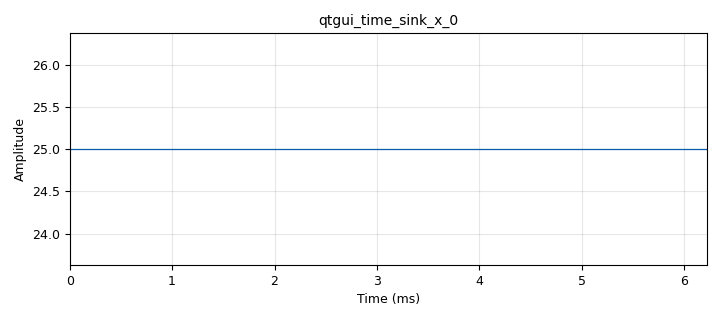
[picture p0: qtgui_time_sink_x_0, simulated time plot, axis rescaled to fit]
options:
  parameters:
    author: JI
    comment: This file is a simply lookupg for a ePython based iterator
    generate_options: qt_gui
    id: iterating_with_ePY
    output_language: python
    title: iterating_with_ePY
  states: {}

blocks:
- name: samp_rate
  id: variable
  parameters:
    value: '32000'
  states: {}
- name: stepsize
  id: variable_qtgui_entry
  parameters:
    label: Define stepsize
    type: int
    value: '1'
  states: {}
- name: blocks_throttle_0
  id: blocks_throttle
  parameters:
    samples_per_second: samp_rate
    type: float
  states: {}
- name: iterator
  id: epy_block
  parameters:
    _source_code: |
      """
      Embedded Python Blocks:

      Each time this file is saved, GRC will instantiate the first class it finds
      to get ports and parameters of your block. The arguments to __init__  will
      be the parameters. All of them are required to have default values!
      """

      import numpy as np
      from gnuradio import gr


      class iterator_blk(gr.sync_block):  # other base classes are basic_block, decim_block, interp_block
          """ Embedded Python Block - a simple iterator with a definable stepsize """

          def __init__(self, starting_index = 0, max_index = 200, stepsize = 1.0):  # only default arguments here
              """arguments to this function show up as parameters in GRC"""
              gr.sync_block.__init__(
                  self,
                  name='Embedded Python Block',   # will show up in GRC
                  in_sig=[],                      # as this is a simple "function-generator", we do not need any input
                  out_sig=[np.single]             # the output should be
              )

              # if an attribute with the same name as a parameter is found,
              # a callback is registered (properties work, too).
              self.min_index = starting_index
              self.max_index = max_index
              self.iterator  = starting_index
              self.stepsize  = stepsize


          def work(self, input_items, output_items):
              """example: iterate through a variable -> start at "starting_index" and end at "max_index" """

              if self.iterator< self.max_index :
                  self.iterator = self.iterator + self.stepsize
              else:
                  self.iterator = self.min_index


              output_items[0][:] =  self.iterator
              return len(output_items[0])
    comment: |-
      This block  represents a simple ePyhton block
      to creat a running index

      Change the blocks parameters to set stepsize,
       as well as starting and endpoint 

      Alternatively use external variables
      (e.g. in case of the stepsize via a QT-Gui-Entry)
    max_index: '200'
    starting_index: '0'
    stepsize: stepsize
  states: {}
- name: qtgui_number_sink_0
  id: qtgui_number_sink
  parameters:
    graph_type: qtgui.NUM_GRAPH_HORIZ
    type: float
  states: {}
- name: qtgui_time_sink_x_0
  id: qtgui_time_sink_x
  parameters:
    entags: 'False'
    size: '200'
    srate: samp_rate
    type: float
    update_time: '0.1'
    ymax: '200'
  states: {}

connections:
- [blocks_throttle_0, '0', qtgui_number_sink_0, '0']
- [blocks_throttle_0, '0', qtgui_time_sink_x_0, '0']
- [iterator, '0', blocks_throttle_0, '0']

metadata:
  file_format: 1
